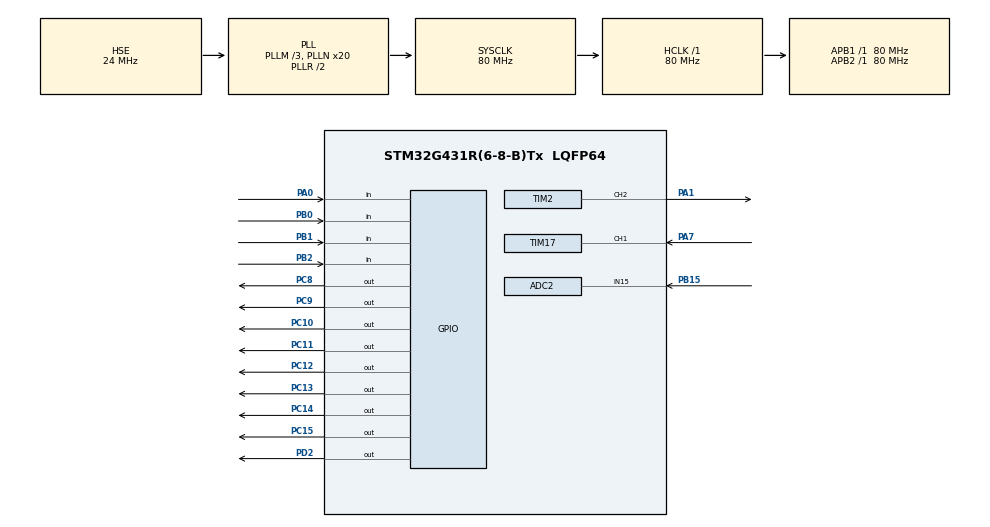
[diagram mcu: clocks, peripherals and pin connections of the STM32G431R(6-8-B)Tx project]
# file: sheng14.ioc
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ADC2.Channel-1\#ChannelRegularConversion=ADC_CHANNEL_15
ADC2.NbrOfConversionFlag=1
ADC2.OffsetNumber-1\#ChannelRegularConversion=ADC_OFFSET_NONE
ADC2.Rank-1\#ChannelRegularConversion=1
ADC2.SamplingTime-1\#ChannelRegularConversion=ADC_SAMPLETIME_2CYCLES_5
Mcu.Family=STM32G4
Mcu.Name=STM32G431R(6-8-B)Tx
Mcu.Package=LQFP64
NVIC.PriorityGroup=NVIC_PRIORITYGROUP_4
NVIC.TIM1_TRG_COM_TIM17_IRQn=true\:0\:0\:false\:false\:true\:true\:true\:true
NVIC.TIM4_IRQn=true\:0\:0\:false\:false\:true\:true\:true\:true
PA0.GPIO_Mode=GPIO_MODE_INPUT
PA0.GPIO_PuPd=GPIO_PULLUP
PA0.Signal=GPIO_Input
PA1.Signal=S_TIM2_CH2
PA13.Mode=Serial_Wire
PA13.Signal=SYS_JTMS-SWDIO
PA14.Mode=Serial_Wire
PA14.Signal=SYS_JTCK-SWCLK
PA7.Signal=S_TIM17_CH1
PB0.GPIO_Mode=GPIO_MODE_INPUT
PB0.GPIO_PuPd=GPIO_PULLUP
PB0.Signal=GPIO_Input
PB1.GPIO_Mode=GPIO_MODE_INPUT
PB1.GPIO_PuPd=GPIO_PULLUP
PB1.Signal=GPIO_Input
PB15.Mode=IN15-Single-Ended
PB15.Signal=ADC2_IN15
PB2.GPIO_Mode=GPIO_MODE_INPUT
PB2.GPIO_PuPd=GPIO_PULLUP
PB2.Signal=GPIO_Input
PC10.GPIO_ModeDefaultOutputPP=GPIO_MODE_OUTPUT_PP
PC10.GPIO_PuPd=GPIO_NOPULL
PC10.GPIO_Speed=GPIO_SPEED_FREQ_LOW
PC10.PinState=GPIO_PIN_SET
PC10.Signal=GPIO_Output
PC11.GPIO_ModeDefaultOutputPP=GPIO_MODE_OUTPUT_PP
PC11.GPIO_PuPd=GPIO_NOPULL
PC11.GPIO_Speed=GPIO_SPEED_FREQ_LOW
PC11.PinState=GPIO_PIN_SET
PC11.Signal=GPIO_Output
PC12.GPIO_ModeDefaultOutputPP=GPIO_MODE_OUTPUT_PP
PC12.GPIO_PuPd=GPIO_NOPULL
PC12.GPIO_Speed=GPIO_SPEED_FREQ_LOW
PC12.PinState=GPIO_PIN_SET
PC12.Signal=GPIO_Output
PC13.GPIO_ModeDefaultOutputPP=GPIO_MODE_OUTPUT_PP
PC13.GPIO_PuPd=GPIO_NOPULL
PC13.GPIO_Speed=GPIO_SPEED_FREQ_LOW
PC13.PinState=GPIO_PIN_SET
PC13.Signal=GPIO_Output
PC14-OSC32_IN.GPIO_ModeDefaultOutputPP=GPIO_MODE_OUTPUT_PP
PC14-OSC32_IN.GPIO_PuPd=GPIO_NOPULL
PC14-OSC32_IN.GPIO_Speed=GPIO_SPEED_FREQ_LOW
PC14-OSC32_IN.PinState=GPIO_PIN_SET
PC14-OSC32_IN.Signal=GPIO_Output
PC15-OSC32_OUT.GPIO_ModeDefaultOutputPP=GPIO_MODE_OUTPUT_PP
PC15-OSC32_OUT.GPIO_PuPd=GPIO_NOPULL
PC15-OSC32_OUT.GPIO_Speed=GPIO_SPEED_FREQ_LOW
PC15-OSC32_OUT.PinState=GPIO_PIN_SET
PC15-OSC32_OUT.Signal=GPIO_Output
PC8.GPIO_ModeDefaultOutputPP=GPIO_MODE_OUTPUT_PP
PC8.GPIO_PuPd=GPIO_NOPULL
PC8.GPIO_Speed=GPIO_SPEED_FREQ_LOW
PC8.PinState=GPIO_PIN_SET
PC8.Signal=GPIO_Output
PC9.GPIO_ModeDefaultOutputPP=GPIO_MODE_OUTPUT_PP
PC9.GPIO_PuPd=GPIO_NOPULL
PC9.GPIO_Speed=GPIO_SPEED_FREQ_LOW
PC9.PinState=GPIO_PIN_SET
PC9.Signal=GPIO_Output
PD2.Signal=GPIO_Output
PF0-OSC_IN.Mode=HSE-External-Oscillator
PF0-OSC_IN.Signal=RCC_OSC_IN
PF1-OSC_OUT.Mode=HSE-External-Oscillator
PF1-OSC_OUT.Signal=RCC_OSC_OUT
ProjectManager.HeapSize=0x200
ProjectManager.StackSize=0x400
ProjectManager.TargetToolchain=MDK-ARM V5.32
RCC.ADC12Freq_Value=80000000
RCC.AHBFreq_Value=80000000
RCC.APB1Freq_Value=80000000
RCC.APB1TimFreq_Value=80000000
RCC.APB2Freq_Value=80000000
RCC.APB2TimFreq_Value=80000000
RCC.CortexFreq_Value=80000000
RCC.EXTERNAL_CLOCK_VALUE=12288000
RCC.HCLKFreq_Value=80000000
RCC.HSE_VALUE=24000000
RCC.HSI48_VALUE=48000000
RCC.HSI_VALUE=16000000
RCC.LSE_VALUE=32768
RCC.PLLM=RCC_PLLM_DIV3
RCC.PLLN=20
RCC.PLLSourceVirtual=RCC_PLLSOURCE_HSE
RCC.SYSCLKFreq_VALUE=80000000
RCC.SYSCLKSource=RCC_SYSCLKSOURCE_PLLCLK
RCC.USBFreq_Value=80000000
RCC.VCOOutputFreq_Value=160000000
SH.S_TIM17_CH1.0=TIM17_CH1,Input_Capture1_from_TI1
SH.S_TIM2_CH2.0=TIM2_CH2,PWM Generation2 CH2
TIM17.Channel=TIM_CHANNEL_1
TIM17.Prescaler=80-1
TIM2.Channel-PWM\ Generation2\ CH2=TIM_CHANNEL_2
TIM2.PeriodNoDither=100-1
TIM2.Prescaler=200-1
TIM2.PulseNoDither_2=20
TIM4.PeriodNoDither=9999
TIM4.Prescaler=79
VP_SYS_VS_DBSignals.Mode=DisableDeadBatterySignals
VP_TIM17_VS_ClockSourceINT.Mode=Enable_Timer
VP_TIM2_VS_ClockSourceINT.Mode=Internal
VP_TIM4_VS_ClockSourceINT.Mode=Internal
board=custom

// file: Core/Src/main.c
/* USER CODE BEGIN Header */
/**
  ******************************************************************************
  * @file           : main.c
  * @brief          : Main program body
  ******************************************************************************
  * @attention
  *
  * Copyright (c) 2024 STMicroelectronics.
  * All rights reserved.
  *
  * This software is licensed under terms that can be found in the LICENSE file
  * in the root directory of this software component.
  * If no LICENSE file comes with this software, it is provided AS-IS.
  *
  ******************************************************************************
  */
/* USER CODE END Header */
#include "main.h"
#include "adc.h"
#include "tim.h"
#include "gpio.h"

/* USER CODE BEGIN Includes */
#include "led.h"
#include "interrupt.h"
#include "stdio.h"
#include "badc.h"
/* USER CODE END Includes */

/* USER CODE BEGIN PM */
void key_proc(void);
void lcd_proc(void);
void led_proc(void);
void pa7_v_change(void);
void PWM_proc(void);
/* USER CODE END PM */

/* USER CODE BEGIN PV */
extern struct keys key[4];
extern uint frq_pa7;
uint16_t view=0;
bool mode=0;
uint N_change=0;
uint PWM=0;
float VOLT=0;
uint PARA_K=1;
uint PARA_R=1;
bool R_K_choice=0;
uint R_temp=1,K_temp=1;
uint32_t fre=99;
double pa1_duty=10.0;
/* USER CODE END PV */

void SystemClock_Config(void);

int main(void)
{

  /* MCU Configuration--------------------------------------------------------*/

  /* Reset of all peripherals, Initializes the Flash interface and the Systick. */
  HAL_Init();

  /* Configure the system clock */
  SystemClock_Config();

  /* Initialize all configured peripherals */
  MX_GPIO_Init();
  MX_TIM4_Init();
  MX_ADC2_Init();
  MX_TIM2_Init();
  MX_TIM17_Init();
  /* USER CODE BEGIN 2 */
  LCD_Init();					    	//LCD初始化

  /* USER CODE END 2 */

  /* Infinite loop */
  /* USER CODE BEGIN WHILE */
  LED_dis(0x00);				//led初始化

  HAL_TIM_Base_Start_IT(&htim4);

  LCD_Clear(Black);
  LCD_SetBackColor(Black);
  LCD_SetTextColor(White);

  HAL_TIM_PWM_Start(&htim2,TIM_CHANNEL_2);		//TIM_PWM开启通道

  HAL_TIM_IC_Start_IT(&htim17,TIM_CHANNEL_1); 					//PA7频率测量开启通道
  while (1)
  {
    /* USER CODE END WHILE */

    /* USER CODE BEGIN 3 */
	  lcd_proc();
	  key_proc();
	  led_proc();
	  pa7_v_change();
	  PWM_proc();
  }
  /* USER CODE END 3 */
}

void SystemClock_Config(void)
{
  RCC_OscInitTypeDef RCC_OscInitStruct = {0};
  RCC_ClkInitTypeDef RCC_ClkInitStruct = {0};

  /** Configure the main internal regulator output voltage
  */
  HAL_PWREx_ControlVoltageScaling(PWR_REGULATOR_VOLTAGE_SCALE1);

  /** Initializes the RCC Oscillators according to the specified parameters
  * in the RCC_OscInitTypeDef structure.
  */
  RCC_OscInitStruct.OscillatorType = RCC_OSCILLATORTYPE_HSE;
  RCC_OscInitStruct.HSEState = RCC_HSE_ON;
  RCC_OscInitStruct.PLL.PLLState = RCC_PLL_ON;
  RCC_OscInitStruct.PLL.PLLSource = RCC_PLLSOURCE_HSE;
  RCC_OscInitStruct.PLL.PLLM = RCC_PLLM_DIV3;
  RCC_OscInitStruct.PLL.PLLN = 20;
  RCC_OscInitStruct.PLL.PLLP = RCC_PLLP_DIV2;
  RCC_OscInitStruct.PLL.PLLQ = RCC_PLLQ_DIV2;
  RCC_OscInitStruct.PLL.PLLR = RCC_PLLR_DIV2;
  if (HAL_RCC_OscConfig(&RCC_OscInitStruct) != HAL_OK)
  {
    Error_Handler();
  }

  /** Initializes the CPU, AHB and APB buses clocks
  */
  RCC_ClkInitStruct.ClockType = RCC_CLOCKTYPE_HCLK|RCC_CLOCKTYPE_SYSCLK
                              |RCC_CLOCKTYPE_PCLK1|RCC_CLOCKTYPE_PCLK2;
  RCC_ClkInitStruct.SYSCLKSource = RCC_SYSCLKSOURCE_PLLCLK;
  RCC_ClkInitStruct.AHBCLKDivider = RCC_SYSCLK_DIV1;
  RCC_ClkInitStruct.APB1CLKDivider = RCC_HCLK_DIV1;
  RCC_ClkInitStruct.APB2CLKDivider = RCC_HCLK_DIV1;

  if (HAL_RCC_ClockConfig(&RCC_ClkInitStruct, FLASH_LATENCY_2) != HAL_OK)
  {
    Error_Handler();
  }
}

/* USER CODE BEGIN 4 */
void key_proc()								//按键控制函数
{
	if(key[0].single_flag==1)
	{
		view++;
		LCD_Clear(Black);
		if(view==3)view=0;
		if(view==1)R_K_choice=0;
		key[0].single_flag=0;
	}
	if(key[1].single_flag==1)
	{
		if(view==1)
		{
			R_K_choice=!R_K_choice;
		}
		if(view==0)
		{
			mode=!mode;
			N_change++;
			__HAL_TIM_SET_AUTORELOAD(&htim2,fre);
		}

		key[1].single_flag=0;
	}
	if(key[2].single_flag==1)
	{
		if(view==1)
		{
			if(R_K_choice==0)
			{
				R_temp++;
				while(R_temp>10)R_temp=1;
			}
			if(R_K_choice==1)
			{
				K_temp++;
				while(K_temp>10)K_temp=1;
			}
		}

		key[2].single_flag=0;
	}
	if(key[3].single_flag==1)
	{
		if(view==1)
		{
			if(R_K_choice==0)
			{
				R_temp--;
				while(R_temp==0)R_temp=10;
			}
			if(R_K_choice==1)
			{
				K_temp--;
				while(K_temp==0)K_temp=10;
			}
		}

		key[3].single_flag=0;
	}
}

void lcd_proc()								//界面显示函数
{
	char text[30];
	if(view==0)																//数据显示界面（默认界面）
	{
		sprintf(text,"        DATA         ");
		LCD_DisplayStringLine(Line1, (uint8_t *)text);
		if(mode==0)
		{
			sprintf(text,"     M=L            ");
			LCD_DisplayStringLine(Line3, (uint8_t *)text);
		}
		if(mode==1)
		{
			sprintf(text,"     M=H            ");
			LCD_DisplayStringLine(Line3, (uint8_t *)text);
		}
		sprintf(text,"     P=%.0lf%%             ",pa1_duty);
		LCD_DisplayStringLine(Line4, (uint8_t *)text);
		sprintf(text,"     V=%.1f             ",VOLT);
		LCD_DisplayStringLine(Line5, (uint8_t *)text);
		sprintf(text,"     V=%.2f             ",getADC(&hadc2));
		LCD_DisplayStringLine(Line6, (uint8_t *)text);
	}
	if(view==1)																//参数界面
	{
		sprintf(text,"        PARA         ");
		LCD_DisplayStringLine(Line1, (uint8_t *)text);
		sprintf(text,"     R=%d            ",R_temp);
		LCD_DisplayStringLine(Line3, (uint8_t *)text);
		sprintf(text,"     K=%d            ",K_temp);
		LCD_DisplayStringLine(Line4, (uint8_t *)text);
	}
	if(view==2)																//统计界面
	{
		sprintf(text,"        RECD         ");
		LCD_DisplayStringLine(Line1, (uint8_t *)text);
		sprintf(text,"     N=%d              ",N_change);
		LCD_DisplayStringLine(Line3, (uint8_t *)text);
		sprintf(text,"     MH=             ");
		LCD_DisplayStringLine(Line4, (uint8_t *)text);
		sprintf(text,"     ML=             ");
		LCD_DisplayStringLine(Line5, (uint8_t *)text);
	}
}
void led_proc()								//led控制函数
{
	if(view==0)
	{
		LED_dis(0x01);
	}
	else
	{
		LED_dis(0x00);
	}
}
void pa7_v_change()
{
	if(view==0||view==2)
	{
		PARA_K=K_temp;
		PARA_R=R_temp;
	}
	VOLT=frq_pa7*2*3.14*PARA_R/(100*PARA_K);
}
void PWM_proc()
{
	pa1_duty=(getADC(&hadc2)*37.5)-27.5;
	if(getADC(&hadc2)<=1.0)pa1_duty=10;
	if(getADC(&hadc2)>=3.0)pa1_duty=85;
	__HAL_TIM_SetCompare(&htim2,TIM_CHANNEL_2,pa1_duty);
}
/* USER CODE END 4 */

void Error_Handler(void)
{
  __disable_irq();
  while (1)
  {
  }
}
